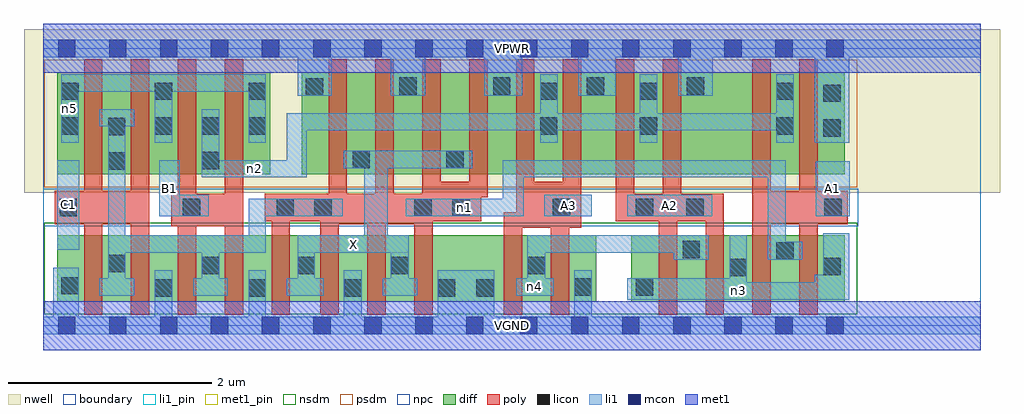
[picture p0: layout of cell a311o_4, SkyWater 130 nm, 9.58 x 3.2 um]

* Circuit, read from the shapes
.subckt a311o_4 A1 A2 A3 B1 C1 VGND VPWR X n1 n2 n3 n4 n5
XM1 n1 C1 VGND VSUBS sky130_fd_pr__nfet_01v8 w=0.65 l=0.18 m=2
XM2 n1 B1 VGND VSUBS sky130_fd_pr__nfet_01v8 w=0.65 l=0.18 m=2
XM3 X n1 VGND VSUBS sky130_fd_pr__nfet_01v8 w=0.65 l=0.18 m=4
XM4 n4 A3 VGND VSUBS sky130_fd_pr__nfet_01v8 w=0.65 l=0.18 m=2
XM5 n4 A2 n3 VSUBS sky130_fd_pr__nfet_01v8 w=0.65 l=0.18 m=2
XM6 n1 A1 n3 VSUBS sky130_fd_pr__nfet_01v8 w=0.65 l=0.18 m=2
XM7 n1 C1 n5 n6 sky130_fd_pr__pfet_01v8 w=1 l=0.18 m=2
XM8 n2 B1 n5 n6 sky130_fd_pr__pfet_01v8 w=1 l=0.18 m=2
XM9 X n1 VPWR n6 sky130_fd_pr__pfet_01v8 w=1 l=0.18 m=4
XM10 n2 A3 VPWR n6 sky130_fd_pr__pfet_01v8 w=1 l=0.18 m=2
XM11 n2 A2 VPWR n6 sky130_fd_pr__pfet_01v8 w=1 l=0.18 m=2
XM12 n2 A1 VPWR n6 sky130_fd_pr__pfet_01v8 w=1 l=0.18 m=2
.ends

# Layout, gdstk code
import gdstk
lib = gdstk.Library(unit=1e-6, precision=1e-09)
def R(c, l, rs):  # rectangles x0, y0, x1, y1
    for r in rs: c.add(gdstk.rectangle(r[:2], r[2:], *l))
def A(c, l, x, y, w, h, nx, ny, dx, dy):  # array of equal rectangles
    R(c, l, [(x+i*dx, y+j*dy, x+i*dx+w, y+j*dy+h) for i in range(nx) for j in range(ny)])
nwell = (64, 20)
diff = (65, 20)
poly = (66, 20)
licon = (66, 44)
li1_pin = (67, 16)
li1 = (67, 20)
mcon = (67, 44)
met1_pin = (68, 16)
met1 = (68, 20)
nsdm = (93, 44)
psdm = (94, 20)
npc = (95, 20)
boundary = (235, 4)

a311o_4 = lib.new_cell('a311o_4')
R(a311o_4, nwell, [(-0.19,1.305,9.39,2.91), (0,1.305,9.2,2.91)])
R(a311o_4, diff, [(0.135,0.235,5.425,0.885), (5.77,0.235,7.865,0.885), (0.135,1.485,2.225,2.485), (2.535,1.485,7.865,2.485)])
A(a311o_4, poly, 0.4, 0.105, 0.18, 2.51, 4, 1, 0.46, 0)
A(a311o_4, poly, 2.72, 0.105, 0.18, 1.19, 3, 1, 0.46, 0)
R(a311o_4, poly, [(2.24,0.105,2.42,1.295), (4.52,0.105,4.7,1.11), (4.98,0.105,5.16,1.41), (6.04,0.105,6.22,1.295), (6.5,0.105,6.68,1.295), (6.96,0.105,7.14,2.615), (7.42,0.105,7.6,2.615), (4.64,0.96,5.28,1.41), (4.64,0.96,4.82,2.615), (5.1,0.96,5.28,2.615), (1.255,0.975,1.96,1.295), (0.11,0.995,1.04,1.325), (2.72,0.995,3.82,1.295), (2.8,0.995,2.98,2.615), (3.26,0.995,3.44,2.615), (6.96,0.995,7.895,1.325), (2.175,1.025,4.3,1.295), (3.72,1.025,3.9,2.615), (5.62,1.025,5.8,2.615), (5.62,1.025,6.68,1.295), (6.08,1.025,6.26,2.615), (3.72,1.26,4.36,1.41), (4.18,1.41,4.36,2.615)])
A(a311o_4, licon, 1.095, 1.875, 0.17, 0.17, 3, 1, 0.46, 0)
A(a311o_4, licon, 0.175, 2.215, 0.17, 0.17, 3, 1, 0.92, 0)
A(a311o_4, licon, 3.495, 2.265, 0.17, 0.17, 3, 1, 0.92, 0)
R(a311o_4, licon, [(1.095,0.285,1.265,0.455), (2.015,0.285,2.185,0.455), (2.955,0.285,3.125,0.455), (3.875,0.285,4.045,0.455), (4.25,0.285,4.42,0.455), (5.215,0.295,5.385,0.465), (5.815,0.295,5.985,0.465), (0.175,0.305,0.345,0.475), (6.735,0.485,6.905,0.655), (7.655,0.495,7.825,0.665), (1.555,0.505,1.725,0.675), (2.495,0.505,2.665,0.675), (3.415,0.505,3.585,0.675), (4.755,0.505,4.925,0.675), (0.635,0.525,0.805,0.695), (7.195,0.65,7.365,0.82), (6.275,0.66,6.445,0.83), (0.16,1.075,0.33,1.245), (1.37,1.075,1.54,1.245), (2.29,1.075,2.46,1.245), (2.66,1.075,2.83,1.245), (3.64,1.075,3.81,1.245), (4.015,1.075,4.185,1.245), (5,1.075,5.17,1.245), (5.815,1.075,5.985,1.245), (6.31,1.075,6.48,1.245), (7.665,1.075,7.835,1.245), (0.635,1.53,0.805,1.7), (1.555,1.535,1.725,1.705), (3.035,1.545,3.205,1.715), (3.955,1.545,4.125,1.715), (7.655,1.855,7.825,2.025), (0.635,1.87,0.805,2.04), (0.175,1.875,0.345,2.045), (4.875,1.875,5.045,2.045), (5.855,1.875,6.025,2.045), (7.195,1.875,7.365,2.045), (7.655,2.195,7.825,2.365), (4.875,2.215,5.045,2.385), (5.855,2.215,6.025,2.385), (7.195,2.215,7.365,2.385), (2.575,2.255,2.745,2.425), (6.315,2.265,6.485,2.435)])
R(a311o_4, li1_pin, [(2.495,0.715,3.585,0.885), (0.135,0.745,0.35,1.625), (1.14,1.075,1.34,1.625), (4.915,1.075,5.385,1.285), (5.73,1.075,6.565,1.285), (7.58,1.075,7.915,1.615)])
A(a311o_4, li1, 0.175, 1.795, 0.17, 0.67, 3, 1, 0.92, 0)
R(a311o_4, li1, [(0,-0.085,9.2,0.085), (0.095,-0.085,0.345,0.565), (1.095,-0.085,1.265,0.545), (2.015,-0.085,2.185,0.545), (2.95,-0.085,3.125,0.545), (3.87,-0.085,4.425,0.545), (5.21,-0.085,5.385,0.545), (5.73,0.255,7.91,0.425), (5.73,0.255,6.905,0.465), (6.735,0.255,6.905,0.885), (7.57,0.255,7.91,0.5), (7.655,0.255,7.91,0.905), (0.55,0.295,0.89,0.465), (0.635,0.295,0.805,2.125), (1.47,0.295,1.81,0.465), (1.555,0.295,1.725,0.885), (2.39,0.295,2.75,0.465), (2.495,0.295,2.665,0.885), (3.33,0.295,3.67,0.465), (3.41,0.295,3.585,0.885), (4.64,0.295,5.01,0.465), (4.75,0.295,4.925,0.885), (6.19,0.645,6.53,0.885), (7.11,0.645,7.285,1.625), (7.11,0.645,7.45,0.825), (0.635,0.715,2.185,0.885), (2.015,0.715,2.185,1.245), (2.495,0.715,3.585,0.885), (3.15,0.715,3.38,1.715), (4.75,0.715,6.53,0.885), (0.135,0.745,0.35,1.625), (1.14,1.075,1.34,1.625), (1.14,1.075,1.625,1.285), (2.015,1.075,2.94,1.245), (3.555,1.075,4.715,1.245), (4.51,1.075,4.715,1.625), (4.915,1.075,5.385,1.285), (5.73,1.075,6.565,1.285), (7.58,1.075,7.915,1.615), (1.555,1.455,1.725,2.125), (1.555,1.455,2.585,1.625), (2.39,1.455,2.585,2.085), (4.51,1.455,7.285,1.625), (2.95,1.545,4.21,1.715), (4.875,1.795,5.05,2.465), (5.855,1.795,6.025,2.465), (7.195,1.795,7.365,2.465), (7.57,1.795,7.91,2.805), (2.39,1.915,7.365,2.085), (0.55,1.955,0.89,2.125), (2.495,2.255,2.83,2.805), (3.41,2.255,3.75,2.805), (4.33,2.255,4.7,2.805), (5.25,2.255,5.62,2.805), (6.23,2.255,6.57,2.805), (0.175,2.295,2.185,2.465), (0,2.635,9.2,2.805)])
A(a311o_4, mcon, 0.145, -0.085, 0.17, 0.17, 5, 2, 0.5, 2.72)
A(a311o_4, mcon, 2.65, -0.085, 0.17, 0.17, 4, 2, 0.5, 2.72)
A(a311o_4, mcon, 4.68, -0.085, 0.17, 0.17, 3, 2, 0.5, 2.72)
A(a311o_4, mcon, 6.185, -0.085, 0.17, 0.17, 4, 2, 0.5, 2.72)
R(a311o_4, met1_pin, [(0,-0.24,9.2,0.24), (0,2.48,9.2,2.96)])
R(a311o_4, met1, [(0,-0.24,9.2,0.24), (0,2.48,9.2,2.96)])
R(a311o_4, nsdm, [(0.01,0.11,7.99,1.01)])
R(a311o_4, psdm, [(0.01,1.36,7.99,2.61)])
R(a311o_4, npc, [(0,0.975,8,1.345)])
R(a311o_4, boundary, [(0,0,9.2,2.72)])
a311o_4.add(gdstk.Label('A1', (7.747,1.345), layer=67, texttype=5))
a311o_4.add(gdstk.Label('A2', (6.147,1.18), layer=67, texttype=5))
a311o_4.add(gdstk.Label('A3', (5.15,1.18), layer=67, texttype=5))
a311o_4.add(gdstk.Label('B1', (1.24,1.35), layer=67, texttype=5))
a311o_4.add(gdstk.Label('C1', (0.242,1.185), layer=67, texttype=5))
a311o_4.add(gdstk.Label('X', (3.04,0.8), layer=67, texttype=5))
a311o_4.add(gdstk.Label('n4', (4.825,0.38), layer=67, texttype=5))
a311o_4.add(gdstk.Label('n3', (6.82,0.34), layer=67, texttype=5))
a311o_4.add(gdstk.Label('n1', (4.135,1.16), layer=67, texttype=5))
a311o_4.add(gdstk.Label('n5', (0.26,2.13), layer=67, texttype=5))
a311o_4.add(gdstk.Label('n2', (2.07,1.54), layer=67, texttype=5))
a311o_4.add(gdstk.Label('VPWR', (4.6,2.72), layer=68, texttype=5))
a311o_4.add(gdstk.Label('VGND', (4.6,0), layer=68, texttype=5))
a311o_4.add(gdstk.Label('A1', (7.747,1.345), layer=67, texttype=16))
a311o_4.add(gdstk.Label('A2', (6.147,1.18), layer=67, texttype=16))
a311o_4.add(gdstk.Label('A3', (5.15,1.18), layer=67, texttype=16))
a311o_4.add(gdstk.Label('B1', (1.24,1.35), layer=67, texttype=16))
a311o_4.add(gdstk.Label('C1', (0.242,1.185), layer=67, texttype=16))
a311o_4.add(gdstk.Label('X', (3.04,0.8), layer=67, texttype=16))
a311o_4.add(gdstk.Label('VPWR', (4.6,2.72), layer=68, texttype=16))
a311o_4.add(gdstk.Label('VGND', (4.6,0), layer=68, texttype=16))

lib.write_gds('a311o_4.gds')
